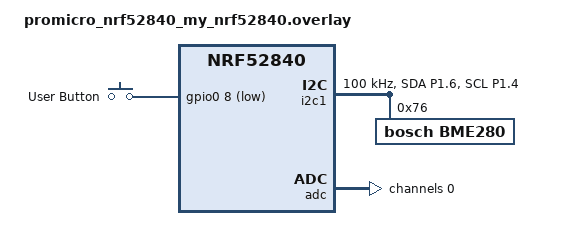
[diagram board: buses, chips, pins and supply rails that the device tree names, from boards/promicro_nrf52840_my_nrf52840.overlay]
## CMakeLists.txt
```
#
# Copyright (c) 2020 Nordic Semiconductor ASA
#
# SPDX-License-Identifier: LicenseRef-Nordic-5-Clause
#

cmake_minimum_required(VERSION 3.20.0)

# Copy uf2/uf2.conf to the project root to enable the bootloader/UF2 build.
# A pristine build is required after adding or removing the root uf2.conf.
if(EXISTS "${CMAKE_CURRENT_SOURCE_DIR}/uf2.conf")
  list(APPEND EXTRA_CONF_FILE
    "${CMAKE_CURRENT_SOURCE_DIR}/uf2.conf"
  )
endif()

find_package(Zephyr REQUIRED HINTS $ENV{ZEPHYR_BASE})

project(zigbee)

# NORDIC SDK APP START
target_sources(app PRIVATE
  src/main.c
  src/zephyr_drivers.c
  src/zb_zcl_struct.c
  #sdk/zigbee_app_utils.c
)

target_include_directories(app PRIVATE include)
```

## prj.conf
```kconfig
#
# Copyright (c) 2020 Nordic Semiconductor ASA
#
# SPDX-License-Identifier: LicenseRef-Nordic-5-Clause
#

#CONFIG_NCS_SAMPLES_DEFAULTS=y

#for E73-2G4M08S1C
# CONFIG_CLOCK_CONTROL_NRF_K32SRC_XTAL=n
# CONFIG_CLOCK_CONTROL_NRF_K32SRC_RC=y
# CONFIG_CLOCK_CONTROL_NRF_K32SRC_500PPM=y

# #production
# CONFIG_SERIAL=n
# CONFIG_LOG=n
# CONFIG_CONSOLE=n
# CONFIG_RTT_CONSOLE=n
# #CONFIG_LOG_DEFAULT_LEVEL=3
# CONFIG_USE_SEGGER_RTT=n
# CONFIG_LOG_BACKEND_RTT=n
# CONFIG_ASSERT=n
#debug
CONFIG_SERIAL=y
CONFIG_LOG=y
CONFIG_CONSOLE=y
CONFIG_RTT_CONSOLE=y
CONFIG_LOG_DEFAULT_LEVEL=3
CONFIG_USE_SEGGER_RTT=y
CONFIG_LOG_BACKEND_RTT=y
CONFIG_ASSERT=y

CONFIG_LOG_BACKEND_UART=n
CONFIG_UART_CONSOLE=n

CONFIG_HEAP_MEM_POOL_SIZE=2048

#zigbee
CONFIG_ZIGBEE_ADD_ON=y
CONFIG_ZIGBEE_PRO_CORE_BEHAVIOR_R22=y
#CONFIG_ZIGBEE_PRO_CORE_BEHAVIOR_R23=y
CONFIG_ZIGBEE_APP_UTILS=y
#CONFIG_ZIGBEE_FACTORY_RESET=y
CONFIG_ZIGBEE_ROLE_END_DEVICE=y
CONFIG_ZIGBEE_CHANNEL_SELECTION_MODE_MULTI=y
#CONFIG_ZIGBEE_CHANNEL_SELECTION_MODE_SINGLE=y
#CONFIG_ZIGBEE_CHANNEL=15
CONFIG_ZIGBEE_DEV_REJOIN_TIMEOUT_MS=300000

#for void zigbee_debug_suspend_zboss_thread(void);
CONFIG_ZIGBEE_DEBUG_FUNCTIONS=y

# This example requires more workqueue stack
CONFIG_SYSTEM_WORKQUEUE_STACK_SIZE=2048

# Enable API for powering down unused RAM parts
CONFIG_RAM_POWER_DOWN_LIBRARY=y

# Networking
CONFIG_NET_IPV6=n
CONFIG_NET_IP_ADDR_CHECK=n
CONFIG_NET_UDP=n


CONFIG_PM=y
CONFIG_PM_DEVICE=y
CONFIG_DK_LIBRARY=y
CONFIG_NRFX_SAADC=y
CONFIG_I2C=y                      
CONFIG_I2C_INIT_PRIORITY=60
CONFIG_ADC=y
CONFIG_ADC_NRFX_SAADC=y
CONFIG_ASSERT=n
CONFIG_LED=y
CONFIG_LED_GPIO=y

CONFIG_SENSOR=y

# Enable nRF ECB driver
CONFIG_CRYPTO=y
CONFIG_CRYPTO_NRF_ECB=y
CONFIG_CRYPTO_INIT_PRIORITY=80
```

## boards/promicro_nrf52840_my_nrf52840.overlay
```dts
#include <nrf52840_partitions.dtsi>
/ {
    aliases {
        sw0 = &user_button;
    };

    buttons {
        compatible = "gpio-keys";

        user_button: button_0 {
            gpios = <&gpio0 8 (GPIO_PULL_UP | GPIO_ACTIVE_LOW)>;
            label = "User Button";
            zephyr,code = <INPUT_KEY_0>;
        };
    };
};

&i2c1 {
    compatible = "nordic,nrf-twim";
    status = "okay";
    clock-frequency = <I2C_BITRATE_STANDARD>;
    pinctrl-0 = <&i2c1_default>;
    pinctrl-1 = <&i2c1_sleep>;
    pinctrl-names = "default", "sleep";

    bme280@76 {
        compatible = "bosch,bme280";
        reg = <0x76>;
    };
};

&pinctrl {
    i2c1_default: i2c1_default {
        group1 {
            psels = <NRF_PSEL(TWIM_SDA, 1, 6)>,
                    <NRF_PSEL(TWIM_SCL, 1, 4)>;
            bias-disable;
        };
    };

    i2c1_sleep: i2c1_sleep {
        group1 {
            psels = <NRF_PSEL(TWIM_SDA, 1, 6)>,
                    <NRF_PSEL(TWIM_SCL, 1, 4)>;
            bias-disable;
            low-power-enable;
        };
    };
};

&adc {
    status = "okay";
    #address-cells = <1>;
    #size-cells = <0>;

    vdd_channel: channel@0 {
        reg = <0>;
        zephyr,gain = "ADC_GAIN_1_6";
        zephyr,reference = "ADC_REF_INTERNAL";
        zephyr,acquisition-time = <ADC_ACQ_TIME_DEFAULT>;
        zephyr,input-positive = <NRF_SAADC_VDD>;
    };
};
```

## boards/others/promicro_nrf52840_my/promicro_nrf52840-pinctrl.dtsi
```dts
/*
 * Copyright (c) 2024 MASSDRIVER EI (massdriver.space)
 * SPDX-License-Identifier: Apache-2.0
 */

&pinctrl {
	uart0_default: uart0_default {
		group1 {
			psels = <NRF_PSEL(UART_TX, 0, 9)>,
				<NRF_PSEL(UART_RX, 0, 10)>;
		};
	};

	uart0_sleep: uart0_sleep {
		group1 {
			psels = <NRF_PSEL(UART_TX, 0, 9)>,
				<NRF_PSEL(UART_RX, 0, 10)>;
			low-power-enable;
		};
	};

	i2c0_default: i2c0_default {
		group1 {
			psels = <NRF_PSEL(TWIM_SDA, 1, 0)>,
				<NRF_PSEL(TWIM_SCL, 0, 11)>;
		};
	};

	i2c0_sleep: i2c0_sleep {
		group1 {
			psels = <NRF_PSEL(TWIM_SDA, 1, 0)>,
				<NRF_PSEL(TWIM_SCL, 0, 11)>;
			low-power-enable;
		};
	};

	i2c1_default: i2c1_default {
		group1 {
			psels = <NRF_PSEL(TWIM_SDA, 1, 6)>,
				<NRF_PSEL(TWIM_SCL, 1, 4)>;
		};
	};

	i2c1_sleep: i2c1_sleep {
		group1 {
			psels = <NRF_PSEL(TWIM_SDA, 1, 6)>,
				<NRF_PSEL(TWIM_SCL, 1, 4)>;
			low-power-enable;
		};
	};

	spi2_default: spi2_default {
		group1 {
			psels = <NRF_PSEL(SPIM_SCK, 1, 1)>,
				<NRF_PSEL(SPIM_MOSI, 1, 2)>,
				<NRF_PSEL(SPIM_MISO, 1, 7)>;
		};
	};

	spi2_sleep: spi2_sleep {
		group1 {
			psels = <NRF_PSEL(SPIM_SCK, 1, 1)>,
				<NRF_PSEL(SPIM_MOSI, 1, 2)>,
				<NRF_PSEL(SPIM_MISO, 1, 7)>;
			low-power-enable;
		};
	};

	pwm0_default: pwm0_default {
		group1 {
			psels = <NRF_PSEL(PWM_OUT0, 0, 15)>;
		};
	};

	pwm0_sleep: pwm0_sleep {
		group1 {
			psels = <NRF_PSEL(PWM_OUT0, 0, 15)>;
			low-power-enable;
		};
	};
};
```

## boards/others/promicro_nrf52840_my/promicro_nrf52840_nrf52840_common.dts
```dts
/*
 * Copyright (c) 2024 MASSDRIVER EI (massdriver.space)
 * Copyright (c) 2018-2023 Nordic Semiconductor ASA
 * Copyright (c) 2017 Linaro Limited
 *
 * SPDX-License-Identifier: Apache-2.0
 */

/dts-v1/;
#include <nordic/nrf52840_qiaa.dtsi>
#include "promicro_nrf52840-pinctrl.dtsi"
#include <zephyr/dt-bindings/input/input-event-codes.h>

/ {
	model = "Pro Micro nRF52840";
	compatible = "others,promicro-nrf52840";

	chosen {
		zephyr,sram = &sram0;
		zephyr,flash = &flash0;
		zephyr,ieee802154 = &ieee802154;
	};

	leds: leds {
		compatible = "gpio-leds";
		led0: led_0 {
			gpios = <&gpio0 15 GPIO_ACTIVE_HIGH>;
			label = "Red LED";
		};
	};

	pwmleds {
		compatible = "pwm-leds";
		red_pwm_led: led_pwm_0 {
			pwms = <&pwm0 0 PWM_MSEC(20) PWM_POLARITY_INVERTED>;
			label = "Red PWM LED";
		};
	};

	aliases {
		led0 = &led0;
		pwm-led0 = &red_pwm_led;
		red-pwm-led = &red_pwm_led;
		mcuboot-led0 = &led0;
		spi = &spi2;
		watchdog0 = &wdt0;
	};
};

&adc {
	status = "okay";
};

&gpiote {
	status = "okay";
};

&uicr {
	nfct-pins-as-gpios;
	gpio-as-nreset;
};

&gpio0 {
	status = "okay";
};

&gpio1 {
	status = "okay";
};

&uart0 {
	compatible = "nordic,nrf-uarte";
	status = "okay";
	current-speed = <115200>;
	pinctrl-0 = <&uart0_default>;
	pinctrl-1 = <&uart0_sleep>;
	pinctrl-names = "default", "sleep";
};

&i2c0 {
	compatible = "nordic,nrf-twi";
	status = "disabled";
	pinctrl-0 = <&i2c0_default>;
	pinctrl-1 = <&i2c0_sleep>;
	pinctrl-names = "default", "sleep";
};

&i2c1 {
	compatible = "nordic,nrf-twi";
	status = "okay";
	pinctrl-0 = <&i2c1_default>;
	pinctrl-1 = <&i2c1_sleep>;
	pinctrl-names = "default", "sleep";
};

&pwm0 {
	status = "okay";
	pinctrl-0 = <&pwm0_default>;
	pinctrl-1 = <&pwm0_sleep>;
	pinctrl-names = "default", "sleep";
};


&spi2 {
	compatible = "nordic,nrf-spi";
	status = "okay";
	pinctrl-0 = <&spi2_default>;
	pinctrl-1 = <&spi2_sleep>;
	pinctrl-names = "default", "sleep";
};

&ieee802154 {
	status = "okay";
};

zephyr_udc0: &usbd {
	status = "okay";
};
#include <../boards/common/usb/cdc_acm_serial.dtsi>
```

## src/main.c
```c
#include <zephyr/kernel.h>
#include <zephyr/device.h>
#include <zephyr/logging/log.h>
#include <ram_pwrdn.h>
#include <dk_buttons_and_leds.h>
#include <zboss_api.h>
#include <zboss_api_addons.h>
#include <zb_zcl_reporting.h>
#include <zephyr/sys/reboot.h>
#include <zigbee/zigbee_app_utils.h>
// #include "zigbee_app_utils.h"
#include <zigbee/zigbee_error_handler.h>
#include <zb_nrf_platform.h>

#include "zephyr_drivers.h"
#include "zb_zcl_struct.h"
#include <zb_macll.h>

void zboss_signal_handler(zb_bufid_t bufid);
static int configure_gpio(void);
static void button_handler(uint32_t button_state, uint32_t has_changed);
static void read_data_cb(struct k_timer *timer);
static void read_data_handler(struct k_work *work);
static void send_attribute_report(zb_bufid_t bufid, zb_uint16_t cmd_id);
static void enter_deep_sleep_work_handler(struct k_work *work);
static void poll_control_checkin_cb(zb_uint8_t param);
static void reboot_work_handler(struct k_work *work);
static void start_zigbee_stack(void);
static void zboss_recovery_join_cb(zb_uint8_t param);
static struct k_work_delayable zboss_recovery_work;
static struct k_work_delayable reboot_work;

K_WORK_DEFINE(read_data_work, read_data_handler);
K_WORK_DELAYABLE_DEFINE(deep_sleep_work, enter_deep_sleep_work_handler);
struct k_timer read_data_timer;

static bool zigbee_started;
static bool app_runtime_started;

#define ERR_REBOOT 1
#define ERR_STEERING 2
#define ERR_LEFT 3

LOG_MODULE_REGISTER(app, LOG_LEVEL_INF);

static void enter_deep_sleep_work_handler(struct k_work *work)
{
	LOG_INF("Configuration window closed. Setting long poll to 10 minutes.");
	zb_zdo_pim_set_long_poll_interval(600000);
}

static void poll_control_checkin_cb(zb_uint8_t param)
{
	ARG_UNUSED(param);
	LOG_INF("Poll Control manual check-in");
	zb_zcl_poll_control_start_check_in(0);
	zb_zcl_poll_control_stop();
}

static void start_normal_app_runtime(const char *reason)
{
	if (app_runtime_started)
	{
		// LOG_INF("app runtime started, reason=%s", reason);
		return;
	}
	zb_zdo_pim_set_long_poll_interval(300);
	app_runtime_started = true;
	LOG_INF("Start app runtime, reason=%s joined=%d", reason, ZB_JOINED());
	LED_BLINK_STOP();
	set_led_off(&led);
	k_timer_start(&read_data_timer, READ_DATA_INITIAL_DELAY, READ_DATA_TIMER_PERIOD);
	k_work_reschedule(&deep_sleep_work, K_SECONDS(30));
}

static void stop_normal_app_runtime(int reason)
{
	LOG_INF("Stop app runtime, reason=%d joined=%d", reason, ZB_JOINED());
	app_runtime_started = false;
	k_timer_stop(&read_data_timer);
	k_work_cancel_delayable(&deep_sleep_work);
	LED_BLINK(K_NO_WAIT, K_NO_WAIT);
}

static void reboot_work_handler(struct k_work *work)
{
	ARG_UNUSED(work);
	LOG_WRN("rebooting...");
	k_msleep(100);
	sys_reboot(SYS_REBOOT_WARM);
}

static void zboss_recovery_join_cb(zb_uint8_t param)
{
	ZVUNUSED(param);

	LOG_WRN("ZBOSS recovery: start network steering");

	if (!bdb_start_top_level_commissioning(ZB_BDB_NETWORK_STEERING))
	{
		LOG_WRN("Recovery network steering rejected");
		k_work_reschedule(&zboss_recovery_work, K_SECONDS(60));
	}
}

static void zboss_recovery_work_handler(struct k_work *work)
{
	ARG_UNUSED(work);

	LOG_WRN("ZBOSS recovery timer fired");

	zb_ret_t ret = ZB_SCHEDULE_APP_CALLBACK(zboss_recovery_join_cb, 0);

	if (ret != RET_OK)
	{
		LOG_WRN("Failed to schedule ZBOSS recovery callback: %d", ret);
		k_work_reschedule(&zboss_recovery_work, K_SECONDS(60));
	}
}

void zboss_signal_handler(zb_bufid_t bufid)
{
	zb_zdo_app_signal_hdr_t *sig_hndler = NULL;
	zb_zdo_app_signal_type_t sig = zb_get_app_signal(bufid, &sig_hndler);
	zb_ret_t status = ZB_GET_APP_SIGNAL_STATUS(bufid);

	bool call_default = true;

	switch (sig)
	{

	case ZB_BDB_SIGNAL_DEVICE_REBOOT:
	{
		LOG_WRN("now ZB_BDB_SIGNAL_DEVICE_REBOOT: status=%d joined=%d",
				status, ZB_JOINED());

		if (status == RET_OK && ZB_JOINED())
		{
			start_normal_app_runtime("device_reboot_joined");
		}
		else
		{
			LOG_WRN("DEVICE_REBOOT failed/not joined, enter offline state");
			zb_macll_trans_set_rx_on_off(zb_get_rx_on_when_idle());
			k_work_reschedule(&zboss_recovery_work, K_SECONDS(60));

			stop_normal_app_runtime(ERR_REBOOT);
		}
		call_default = false;
		break;
	}

	case ZB_BDB_SIGNAL_STEERING:
	{
		LOG_WRN("ZB_BDB_SIGNAL_STEERING: status=%d joined=%d",
				status, ZB_JOINED());

		if (status == RET_OK && ZB_JOINED())
		{
			LOG_INF("Recovery successful");
			start_normal_app_runtime("steering");
		}
		else
		{
			LOG_WRN("Recovery failed, sleep 60 seconds");

			zb_macll_trans_set_rx_on_off(zb_get_rx_on_when_idle());

			stop_normal_app_runtime(ERR_STEERING);
			k_work_reschedule(&zboss_recovery_work, K_SECONDS(60));
		}

		call_default = false;
		break;
	}

	case ZB_ZDO_SIGNAL_LEAVE:
		if (status == RET_OK)
		{
			LOG_INF("left OK");
			k_work_reschedule(&reboot_work, K_MSEC(50));
		}
		call_default = false;
		break;
	}

	if (call_default)
	{
		// LOG_WRN("default handler");
		ZB_ERROR_CHECK(zigbee_default_signal_handler(bufid));
	}

	if (bufid)
	{
		zb_buf_free(bufid);
	}
}

static int configure_gpio(void)
{
	int ret;
	k_timer_init(&led_timer, led_timer_handler, NULL);
	LED_BLINK(K_NO_WAIT, K_NO_WAIT);
	if (!gpio_is_ready_dt(&led))
	{
		LOG_ERR("GPIO device for led not ready");
		return -ENODEV;
	}

	if (!gpio_is_ready_dt(&button))
	{
		LOG_ERR("GPIO device for button not ready");
		return -ENODEV;
	}

	ret = gpio_pin_configure_dt(&button, GPIO_INPUT);
	if (ret < 0)
	{
		LOG_ERR("Failed to configure button pin: %d", ret);
		return ret;
	}

	dk_buttons_init(button_handler);
	return 0;
}

static void start_zigbee_stack(void)
{
	if (zigbee_started)
	{
		LOG_INF("Zigbee already started");
		return;
	}
	zigbee_enable();
	zigbee_started = true;
}

void button_handler(uint32_t button_state, uint32_t has_changed)
{
	LOG_INF("button_handler %d", button_state);
	zb_ret_t ret;
	check_factory_reset_button(button_state, has_changed);
	if (MY_BUTTON_MASK & has_changed & ~button_state)
	{
		if (!was_factory_reset_done())
		{
			LOG_INF("button released");
			if (!zigbee_started)
			{
				start_zigbee_stack();
			}
			else
			{
				ret = ZB_SCHEDULE_APP_CALLBACK(poll_control_checkin_cb, 0);
				LOG_INF("poll control checkin ret=%d", ret);
			}
		}
	}
}

static void read_data_cb(struct k_timer *timer)
{
	ARG_UNUSED(timer);
	k_work_submit(&read_data_work);
}

static void send_attribute_report(zb_bufid_t bufid, zb_uint16_t cmd_id)
{
	ARG_UNUSED(cmd_id);
	LOG_INF("force zboss scheduler to wake and send attribute report");
	zb_buf_free(bufid);
}

static void read_data_handler(struct k_work *work)
{
	ARG_UNUSED(work);
	int16_t temp = 2500;
	int16_t hum = 10000;
	zb_int16_t press = 0;

	read_bme280(&temp, &press, &hum);

	zb_zcl_set_attr_val(
		ENDPOINT_NUM,
		ZB_ZCL_CLUSTER_ID_TEMP_MEASUREMENT,
		ZB_ZCL_CLUSTER_SERVER_ROLE,
		ZB_ZCL_ATTR_TEMP_MEASUREMENT_VALUE_ID,
		(zb_uint8_t *)&temp,
		ZB_FALSE);

	zb_zcl_set_attr_val(
		ENDPOINT_NUM,
		ZB_ZCL_CLUSTER_ID_REL_HUMIDITY_MEASUREMENT,
		ZB_ZCL_CLUSTER_SERVER_ROLE,
		ZB_ZCL_ATTR_REL_HUMIDITY_MEASUREMENT_VALUE_ID,
		(zb_uint8_t *)&hum,
		ZB_FALSE);

	zb_zcl_set_attr_val(
		ENDPOINT_NUM,
		ZB_ZCL_CLUSTER_ID_PRESSURE_MEASUREMENT,
		ZB_ZCL_CLUSTER_SERVER_ROLE,
		ZB_ZCL_ATTR_PRESSURE_MEASUREMENT_VALUE_ID,
		(zb_uint8_t *)&press,
		ZB_FALSE);

	uint16_t volt_cr = 0;
	zb_uint8_t battery_level = ZB_ZCL_POWER_CONFIG_BATTERY_REMAINING_UNKNOWN;
	if (read_vdd_mv(&volt_cr))
	{
		LOG_INF("error read voltage.");
	}
	else
	{
		battery_level = cr2032_CalculateLevel((uint16_t)(volt_cr));
	}
	volt_cr = volt_cr / 100;
	zb_zcl_set_attr_val(
		ENDPOINT_NUM,
		ZB_ZCL_CLUSTER_ID_POWER_CONFIG,
		ZB_ZCL_CLUSTER_SERVER_ROLE,
		ZB_ZCL_ATTR_POWER_CONFIG_BATTERY_PERCENTAGE_REMAINING_ID,
		&battery_level,
		ZB_FALSE);

	zb_zcl_set_attr_val(
		ENDPOINT_NUM,
		ZB_ZCL_CLUSTER_ID_POWER_CONFIG,
		ZB_ZCL_CLUSTER_SERVER_ROLE,
		ZB_ZCL_ATTR_POWER_CONFIG_BATTERY_VOLTAGE_ID,
		(zb_uint8_t *)&volt_cr,
		ZB_FALSE);

	LOG_INF("Data t = %dC h = %d p = %dhPa V = %dV", temp, hum, press, volt_cr);
	zb_buf_get_out_delayed_ext(send_attribute_report, 0, 0);
}

int main(void)
{
	LOG_INF("Starting...");
	k_work_init_delayable(&reboot_work, reboot_work_handler);
	k_work_init_delayable(&zboss_recovery_work, zboss_recovery_work_handler);

	int err;
	if (!configure_gpio())
	{
		LOG_INF("Init GPIO");
	}
	else
	{
		LOG_INF("ERROR init GPIO");
	}

	if (check_bme280_device() == NULL)
	{
		LOG_INF("ERROR init bme280");
	}
	err = init_vdd();
	if (err)
	{
		LOG_INF("ERROR init GPIO %d", err);
	}

	register_factory_reset_button(MY_BUTTON_MASK);
	zigbee_erase_persistent_storage(ERASE_PERSISTENT_CONFIG);
	zb_set_ed_timeout(ED_AGING_TIMEOUT_64MIN);
	zb_set_keepalive_timeout(ZB_MILLISECONDS_TO_BEACON_INTERVAL(3600 * 1000)); //!!!!!!!!

	// configure for lowest power
	zigbee_configure_sleepy_behavior(true);
	power_down_unused_ram();

	// initialize application clusters
	app_clusters_attr_init();

	// initialize read data  timer
	k_timer_init(&read_data_timer, read_data_cb, NULL);

	// zigbee_enable();
	zigbee_started = false;

	LOG_INF("Device started");
	while (1)
	{
		k_sleep(K_FOREVER);
	}
}
```

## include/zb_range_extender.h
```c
#ifndef __ZB_RANGE_EXTENDER_H__
#define __ZB_RANGE_EXTENDER_H__

#define ZB_ENV_SENSOR_DEVICE_ID 0x000C

#define ZB_DEVICE_VER_ENV_SENSOR 0

// number of IN (server) clusters
#define ZB_NORDIC_DIY_IN_CLUSTER_NUM 7

// number of OUT (client) clusters
#define ZB_NORDIC_DIY_OUT_CLUSTER_NUM 1

// total number of (IN+OUT) clusters
#define ZB_NORDIC_DIY_CLUSTER_NUM \
	(ZB_NORDIC_DIY_IN_CLUSTER_NUM + ZB_NORDIC_DIY_OUT_CLUSTER_NUM)

// Number of attributes for reporting
#define ZB_NORDIC_DIY_REPORT_ATTR_COUNT 5

#define ZB_DECLARE_NORDIC_DIY_CLUSTER_LIST(                                       \
	cluster_list_name,                                                            \
	basic_server_attr_list,                                                       \
	identify_server_attr_list,                                                    \
	power_config_server_attr_list,                                                \
	temp_measurement_attr_list,                                                   \
	humidity_measurement_attr_list,                                               \
	pressure_measurement_attr_list,                                               \
	identify_client_attr_list,                                                    \
	poll_control_attr_list)                                                       \
	zb_zcl_cluster_desc_t cluster_list_name[] =                                   \
		{                                                                         \
			ZB_ZCL_CLUSTER_DESC(                                                  \
				ZB_ZCL_CLUSTER_ID_IDENTIFY,                                       \
				ZB_ZCL_ARRAY_SIZE(identify_server_attr_list, zb_zcl_attr_t),      \
				(identify_server_attr_list),                                      \
				ZB_ZCL_CLUSTER_SERVER_ROLE,                                       \
				ZB_ZCL_MANUF_CODE_INVALID),                                       \
			ZB_ZCL_CLUSTER_DESC(                                                  \
				ZB_ZCL_CLUSTER_ID_BASIC,                                          \
				ZB_ZCL_ARRAY_SIZE(basic_server_attr_list, zb_zcl_attr_t),         \
				(basic_server_attr_list),                                         \
				ZB_ZCL_CLUSTER_SERVER_ROLE,                                       \
				ZB_ZCL_MANUF_CODE_INVALID),                                       \
			ZB_ZCL_CLUSTER_DESC(                                                  \
				ZB_ZCL_CLUSTER_ID_TEMP_MEASUREMENT,                               \
				ZB_ZCL_ARRAY_SIZE(temp_measurement_attr_list, zb_zcl_attr_t),     \
				(temp_measurement_attr_list),                                     \
				ZB_ZCL_CLUSTER_SERVER_ROLE,                                       \
				ZB_ZCL_MANUF_CODE_INVALID),                                       \
			ZB_ZCL_CLUSTER_DESC(                                                  \
				ZB_ZCL_CLUSTER_ID_REL_HUMIDITY_MEASUREMENT,                       \
				ZB_ZCL_ARRAY_SIZE(humidity_measurement_attr_list, zb_zcl_attr_t), \
				(humidity_measurement_attr_list),                                 \
				ZB_ZCL_CLUSTER_SERVER_ROLE,                                       \
				ZB_ZCL_MANUF_CODE_INVALID),                                       \
			ZB_ZCL_CLUSTER_DESC(                                                  \
				ZB_ZCL_CLUSTER_ID_PRESSURE_MEASUREMENT,                           \
				ZB_ZCL_ARRAY_SIZE(pressure_measurement_attr_list, zb_zcl_attr_t), \
				(pressure_measurement_attr_list),                                 \
				ZB_ZCL_CLUSTER_SERVER_ROLE,                                       \
				ZB_ZCL_MANUF_CODE_INVALID),                                       \
			ZB_ZCL_CLUSTER_DESC(                                                  \
				ZB_ZCL_CLUSTER_ID_POWER_CONFIG,                                   \
				ZB_ZCL_ARRAY_SIZE(power_config_server_attr_list, zb_zcl_attr_t),  \
				(power_config_server_attr_list),                                  \
				ZB_ZCL_CLUSTER_SERVER_ROLE,                                       \
				ZB_ZCL_MANUF_CODE_INVALID),                                       \
			ZB_ZCL_CLUSTER_DESC(                                                  \
				ZB_ZCL_CLUSTER_ID_POLL_CONTROL,                                   \
				ZB_ZCL_ARRAY_SIZE(poll_control_attr_list, zb_zcl_attr_t),         \
				(poll_control_attr_list),                                         \
				ZB_ZCL_CLUSTER_SERVER_ROLE,                                       \
				ZB_ZCL_MANUF_CODE_INVALID),                                       \
			ZB_ZCL_CLUSTER_DESC(                                                  \
				ZB_ZCL_CLUSTER_ID_IDENTIFY,                                       \
				ZB_ZCL_ARRAY_SIZE(identify_client_attr_list, zb_zcl_attr_t),      \
				(identify_client_attr_list),                                      \
				ZB_ZCL_CLUSTER_CLIENT_ROLE,                                       \
				ZB_ZCL_MANUF_CODE_INVALID)}

#define ZB_ZCL_DECLARE_NORDIC_DIY_SIMPLE_DESC(           \
	ep_name, ep_id, in_clust_num, out_clust_num)         \
	ZB_DECLARE_SIMPLE_DESC(in_clust_num, out_clust_num); \
	ZB_AF_SIMPLE_DESC_TYPE(in_clust_num, out_clust_num)  \
	simple_desc_##ep_name =                              \
		{                                                \
			ep_id,                                       \
			ZB_AF_HA_PROFILE_ID,                         \
			ZB_ENV_SENSOR_DEVICE_ID,                     \
			ZB_DEVICE_VER_ENV_SENSOR,                    \
			0,                                           \
			in_clust_num,                                \
			out_clust_num,                               \
			{ZB_ZCL_CLUSTER_ID_BASIC,                    \
			 ZB_ZCL_CLUSTER_ID_IDENTIFY,                 \
			 ZB_ZCL_CLUSTER_ID_POWER_CONFIG,             \
			 ZB_ZCL_CLUSTER_ID_TEMP_MEASUREMENT,         \
			 ZB_ZCL_CLUSTER_ID_REL_HUMIDITY_MEASUREMENT, \
			 ZB_ZCL_CLUSTER_ID_PRESSURE_MEASUREMENT,     \
			 ZB_ZCL_CLUSTER_ID_POLL_CONTROL,             \
			 ZB_ZCL_CLUSTER_ID_IDENTIFY}}

#define ZB_DECLARE_NORDIC_DIY_EP(ep_name, ep_id, cluster_list)                                          \
	ZB_ZCL_DECLARE_NORDIC_DIY_SIMPLE_DESC(ep_name, ep_id,                                               \
										  ZB_NORDIC_DIY_IN_CLUSTER_NUM, ZB_NORDIC_DIY_OUT_CLUSTER_NUM); \
	ZBOSS_DEVICE_DECLARE_REPORTING_CTX(reporting_info##ep_name,                                         \
									   ZB_NORDIC_DIY_REPORT_ATTR_COUNT);                                \
	ZB_AF_DECLARE_ENDPOINT_DESC(ep_name, ep_id, ZB_AF_HA_PROFILE_ID, 0, NULL,                           \
								ZB_ZCL_ARRAY_SIZE(cluster_list, zb_zcl_cluster_desc_t), cluster_list,   \
								(zb_af_simple_desc_1_1_t *)&simple_desc_##ep_name,                      \
								ZB_NORDIC_DIY_REPORT_ATTR_COUNT, reporting_info##ep_name,               \
								0, NULL) // No CVC ctx

#endif // __ZB_RANGE_EXTENDER_H__
```

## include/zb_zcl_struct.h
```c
#ifndef ZB_ZCL_STRUCT_H
#define ZB_ZCL_STRUCT_H

#include <zboss_api.h>
#include <zboss_api_addons.h>

#define NORDIC_DIY_INIT_BASIC_APP_VERSION 01
#define NORDIC_DIY_INIT_BASIC_STACK_VERSION 10
#define NORDIC_DIY_INIT_BASIC_HW_VERSION 11
#define NORDIC_DIY_INIT_BASIC_SW_VERSION "build-3"
#define NORDIC_DIY_INIT_BASIC_MANUF_NAME "Nordic"
#define NORDIC_DIY_INIT_BASIC_MODEL_ID "nordic DIY PM"
#define NORDIC_DIY_INIT_BASIC_DATE_CODE "041426"
#define NORDIC_DIY_INIT_BASIC_POWER_SOURCE ZB_ZCL_BASIC_POWER_SOURCE_BATTERY
#define NORDIC_DIY_INIT_BASIC_LOCATION_DESC ""
#define NORDIC_DIY_INIT_BASIC_PH_ENV ZB_ZCL_BASIC_ENV_UNSPECIFIED

#define ATTR_TEMP_MIN (-4000)
#define ATTR_TEMP_MAX (8500)
#define ATTR_TEMP_TOLERANCE (100)

#define ATTR_HUM_MIN (0)
#define ATTR_HUM_MAX (10000)

#define ATTR_PRESSURE_MIN (3000)
#define ATTR_PRESSURE_MAX (11000)
#define ATTR_PRESSURE_TOLERANCE (1)

#define ENDPOINT_NUM 1
#define ERASE_PERSISTENT_CONFIG ZB_FALSE

#define READ_DATA_INITIAL_DELAY K_SECONDS(30)
#define READ_DATA_TIMER_PERIOD K_SECONDS(60)
#define LONG_POLL_INTERVAL 600000


typedef struct zb_zcl_power_attrs zb_zcl_power_attrs_t;

struct zb_zcl_power_attrs
{
    zb_uint8_t voltage;
    zb_uint8_t percent_remaining;
};

typedef struct
{
    zb_int16_t measure_value;
    zb_int16_t min_measure_value;
    zb_int16_t max_measure_value;
} zb_zcl_humidity_measurement_attrs_t;

typedef struct
{
    zb_int16_t measure_value;
    zb_int16_t min_measure_value;
    zb_int16_t max_measure_value;
    zb_int16_t tolerance_value;
} zb_zcl_pressure_measurement_attrs_t;

typedef struct
{
    zb_uint32_t checkin_interval;
    zb_uint32_t long_poll_interval;
    zb_uint16_t short_poll_interval;
    zb_uint16_t fast_poll_timeout;
    zb_uint32_t checkin_interval_min;
    zb_uint32_t long_poll_interval_min;
    zb_uint16_t fast_poll_timeout_max;
} zb_zcl_poll_control_attrs_t;

struct zb_device_ctx
{
    zb_zcl_basic_attrs_ext_t basic_attr;
    zb_zcl_identify_attrs_t identify_attr;
    zb_zcl_temp_measurement_attrs_t temp_measure_attrs;
    zb_zcl_humidity_measurement_attrs_t humidity_measure_attrs;
    zb_zcl_pressure_measurement_attrs_t pressure_measure_attrs;
    zb_zcl_power_attrs_t power_attr;
    zb_zcl_poll_control_attrs_t poll_control_attrs;
};



extern struct zb_device_ctx dev_ctx;

extern zb_af_device_ctx_t NORDIC_DIY_ctx;
extern zb_af_endpoint_desc_t NORDIC_DIY_ep;

void app_clusters_attr_init(void);   

#endif /* ZB_ZCL_STRUCT_H */
```

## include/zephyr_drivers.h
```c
#ifndef ZEPHYR_DRIVERS_H
#define ZEPHYR_DRIVERS_H

#include <zephyr/kernel.h>
#include <zephyr/device.h>
#include <zephyr/drivers/gpio.h>
#include <zephyr/drivers/sensor.h>
#include <zephyr/drivers/sensor_data_types.h>
#include <zephyr/drivers/adc.h>

#define SW0_NODE DT_ALIAS(sw0)
#define MY_BUTTON_MASK BIT(0)
#define LED0_NODE DT_ALIAS(led0)
#define MY_LED_MASK BIT(0)

extern const struct gpio_dt_spec button;
extern const struct gpio_dt_spec led;
extern struct k_timer led_timer;

#define LED_BLINK(start_delay, period) \
    k_timer_start(&led_timer, start_delay, period)

#define LED_BLINK_STOP() \
    k_timer_stop(&led_timer)

void set_led_on(const struct gpio_dt_spec *led);
void set_led_off(const struct gpio_dt_spec *led);
void led_timer_handler(struct k_timer *timer);
const struct device *check_bme280_device(void);
int16_t read_bme280(int16_t *temperature, int16_t *pressure, int16_t *humidity);
int init_vdd(void);
int read_vdd_mv(int16_t *mv);
uint8_t cr2032_CalculateLevel(uint16_t voltage);

#endif /* ZEPHYR_DRIVERS_H */
```

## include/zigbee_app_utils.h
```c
/*
 * Copyright (c) 2020 Nordic Semiconductor ASA
 *
 * SPDX-License-Identifier: LicenseRef-Nordic-5-Clause
 */

#ifndef ZIGBEE_APP_UTILS_H__
#define ZIGBEE_APP_UTILS_H__

#include <stdint.h>
#include <stdbool.h>

#include <zboss_api.h>

#define CONFIG_ZIGBEE_FACTORY_RESET

/** @file zigbee_app_utils.h
 *
 * @defgroup zigbee_app_utils Zigbee application utilities library.
 * @{
 * @brief  Library with helper functions and routines.
 *
 * @details Provides Zigbee default handler, helper functions for parsing
 * and converting Zigbee data, indicating status of the device at a network
 * using onboard LEDs.
 */

#ifdef __cplusplus
extern "C" {
#endif

/**@brief Function for setting the Erase persistent storage,
 *        depending on the erase pin.
 *
 * If the erase pin (1.39 by default, defined in zigbee_app_utils.c)
 * is shortened to the ground, then the persistent storage is erased.
 * Otherwise, whether the storage is erased is decided upon the input
 * parameter 'erase'. This behaviour is only valid if PCA10056 is used.
 *
 * @param[in] erase Whether to erase the persistent storage in case
 *                  the erase pin is not shortened to the ground.
 */
void zigbee_erase_persistent_storages(zb_bool_t erase);

/**@brief Function for converting an input buffer to a hex string.
 *
 * @param[out] out       Pointer to the output buffer.
 * @param[in]  out_size  Size of the output buffer.
 * @param[in]  in        Pointer to the input buffer.
 * @param[in]  in_size   Size of the input buffer.
 * @param[in]  reverse   If true, data output happens in the reverse order.
 *
 * @return     snprintf-compatible value. Less than zero means encoding error.
 *             Non-negative value is the number of characters that
 *             would have been written if the supplied buffer had been
 *             large enough. Value greater than or equal to buf_len means
 *             that the supplied buffer was too small.
 *
 * @note    Null terminator is written if buf_len is large enough,
 *          but does not count for the return value.
 */
int to_hex_str(char *out, uint16_t out_size, const uint8_t *in,
	       uint8_t in_size, bool reverse);

/**@brief Read array of uint8_t from hex string.
 *
 * @param in_str        Pointer to the input hex string.
 * @param in_str_len    Length, in characters, of the input string.
 * @param out_buff      Pointer to the output uint8_t array.
 * @param out_buff_size Size, in bytes, of the output uint8_t array.
 * @param reverse       If true then parse from end to start.
 *
 * @retval true   if the conversion succeed
 * @retval false  if the conversion failed
 */
bool parse_hex_str(char const *in_str, uint8_t in_str_len,
		   uint8_t *out_buff, uint8_t out_buff_size, bool reverse);

/**@brief Parse a hex string to uint8_t.
 *
 * The function verifies if input is valid, i.e., if all input characters
 * are valid hex digits. If an invalid character is found then function fails.
 *
 * @param s        Pointer to input string.
 * @param value    Pointer to output value.
 *
 * @retval true   if the conversion succeed
 * @retval false  if the conversion failed
 */
static inline bool parse_hex_u8(char const *s, uint8_t *value)
{
	return parse_hex_str(s, strlen(s), value, sizeof(*value), true);
}

/**@brief Parse a hex string to uint16_t.
 *
 * The function verifies if input is valid, i.e., if all input characters
 * are valid hex digits. If an invalid character is found then function fails.
 *
 * @param s        Pointer to input string.
 * @param value    Pointer to output value.
 *
 * @retval true   if the conversion succeed
 * @retval false  if the conversion failed
 */
static inline bool parse_hex_u16(char const *s, uint16_t *value)
{
	return parse_hex_str(s, strlen(s), (uint8_t *)value, sizeof(*value), true);
}

/**@brief Function for converting 64-bit address to hex string.
 *
 * @param[out] str_buf      Pointer to output buffer.
 * @param[in]  buf_len      Length of the buffer pointed by str_buf.
 * @param[in]  in           Zigbee IEEE address to be converted to string.
 *
 * @return     snprintf-compatible value. Less than zero means encoding error.
 *             Non-negative value is the number of characters that would
 *             have been written if the supplied buffer had been large enough.
 *             Value greater than or equal to buf_len means that the supplied
 *             buffer was too small.
 *
 * @note    Null terminator is written if buf_len is large enough,
 *          but does not count for the return value.
 */
int ieee_addr_to_str(char *str_buf, uint16_t buf_len,
		     const zb_ieee_addr_t in);

/**@brief Address type.
 *
 * @ref ADDR_SHORT and @ref ADDR_LONG correspond to APS addressing
 * mode constants and must not be changed.
 */
typedef enum {
	ADDR_INVALID    = 0,
	ADDR_ANY        = 1,
	ADDR_SHORT      = 2,    /* ZB_APS_ADDR_MODE_16_ENDP_PRESENT */
	ADDR_LONG       = 3,    /* ZB_APS_ADDR_MODE_64_ENDP_PRESENT */
} addr_type_t;

/**@brief Function for parsing a null-terminated string of hex characters
 *        into 64-bit or 16-bit address.
 *
 * The function will skip 0x suffix from input if present.
 *
 * @param input     Pointer to the input string string representing
 *                  the address in big endian.
 * @param output    Pointer to the resulting zb_addr_u variable.
 * @param addr_type Expected address type.
 *
 * @return Conversion result.
 */
addr_type_t parse_address(const char *input, zb_addr_u *output,
			  addr_type_t addr_type);

/**@brief Function for parsing a null-terminated string of hex characters
 *        into a 64-bit address.
 *
 * The function will skip 0x suffix from input if present.
 *
 * @param input   Pointer to the input string representing the address
 *                in big endian.
 * @param addr    Variable where the address will be placed.
 *
 * @retval true   if the conversion succeed
 * @retval false  if the conversion failed
 */
static inline bool parse_long_address(const char *input, zb_ieee_addr_t addr)
{
	return (parse_address(input, (zb_addr_u *)addr,
			      ADDR_LONG) != ADDR_INVALID);
}

/**@brief Function for parsing a null-terminated string of hex characters
 *        into 16-bit address.
 *
 * The function will skip 0x suffix from input if present.
 *
 * @param input   Pointer to the input string representing
 *                the address in big endian.
 * @param addr    Pointer to the variable where address will be placed.
 *
 * @retval true   if the conversion succeed
 * @retval false  if the conversion failed
 */
static inline bool parse_short_address(const char *input, zb_uint16_t *addr)
{
	return (parse_address(input, (zb_addr_u *)addr,
			      ADDR_SHORT) != ADDR_INVALID);
}

/**@brief Function for passing signals to the default
 *        Zigbee stack event handler.
 *
 * @note This function does not free the Zigbee buffer.
 *
 * @param[in] bufid Reference to the Zigbee stack buffer used to pass signal.
 *
 * @return RET_OK on success or error code on failure.
 */
zb_ret_t zigbee_default_signal_handler(zb_bufid_t bufid);

/**@brief Function for indicating the Zigbee network connection
 *        status on LED.
 *
 * If the device is successfully commissioned, the LED is turned on.
 * If the device is not commissioned or has left the network,
 * the LED is turned off.
 *
 * @note This function does not free the Zigbee buffer.
 *
 * @param[in] bufid   Reference to the Zigbee stack buffer
 *                    used to pass signal.
 * @param[in] led_idx LED index, as defined in the board-specific
 *                    BSP header. The index starts from 0.
 */
void zigbee_led_status_update(zb_bufid_t bufid, uint32_t led_idx);

/**@brief Function for indicating the default signal handler
 *        about user input on the device.
 *
 * If the device is not commissioned, the rejoin procedure is started.
 *
 * @note This function is to be used with End Devices only.
 *
 */
#if defined CONFIG_ZIGBEE_ROLE_END_DEVICE
void user_input_indicate(void);

/**@brief Function for enabling sleepy behavior of End Device. Must be called
 *        before zigbee_enable() is called. Also must be called after ZB_INIT(),
 *        which is called when the system is initializing.
 *
 * @note This function is to be used with End Devices only.
 *
 * @param[in] enable   Boolean value indicating if sleepy behavior
 *                     should be enabled or disabled.
 */
void zigbee_configure_sleepy_behavior(bool enable);
#endif /* CONFIG_ZIGBEE_ROLE_END_DEVICE */

#if defined CONFIG_ZIGBEE_FACTORY_RESET

/**@brief Registers which button and for how long has to be pressed in order to do Factory Reset.
 *
 * @note Must be called once before check_factory_reset_button function can be used.
 *
 * @param[in] button Development Kit button to be used as Factory Reset button.
 */
void register_factory_reset_button(uint32_t button);

/**@brief Checks if Factory Reset button was pressed.
 *        If so, it initiates the procedure of checking if it was pressed for specified time.
 *
 * @note register_factory_reset_button function has to be called before (once)
 *
 * @param[in] button_state state of Development Kit buttons; passed from button handler
 * @param[in] has_changed determines which buttons changed; passed from button handler
 */
void check_factory_reset_button(uint32_t button_state, uint32_t has_changed);

/**@brief Indicates whether Factory Reset was started as a result of a button press or not.
 *
 * @return true if Factory Reset was started; false if Factory Reset was not started
 */
bool was_factory_reset_done(void);

#else /* CONFIG_ZIGBEE_FACTORY_RESET */

static inline void register_factory_reset_button(uint32_t)
{
	/* No action. Functionality is disabled. */
}

static inline void check_factory_reset_button(uint32_t, uint32_t)
{
	/* No action. Functionality is disabled. */
}

static inline bool was_factory_reset_done(void)
{
	return false; /* Functionality is disabled. */
}

#endif /* CONFIG_ZIGBEE_FACTORY_RESET */

#ifdef __cplusplus
}
#endif

/**@} */

#endif /* ZIGBEE_APP_UTILS_H__ */
```

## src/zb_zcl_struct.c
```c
#include "zb_zcl_struct.h"
#include "zb_range_extender.h"

struct zb_device_ctx dev_ctx;

ZB_ZCL_DECLARE_BASIC_ATTRIB_LIST_EXT(
    basic_attr_list,
    &dev_ctx.basic_attr.zcl_version,
    &dev_ctx.basic_attr.app_version,
    &dev_ctx.basic_attr.stack_version,
    &dev_ctx.basic_attr.hw_version,
    dev_ctx.basic_attr.mf_name,
    dev_ctx.basic_attr.model_id,
    dev_ctx.basic_attr.date_code,
    &dev_ctx.basic_attr.power_source,
    dev_ctx.basic_attr.location_id,
    &dev_ctx.basic_attr.ph_env,
    dev_ctx.basic_attr.sw_ver);

ZB_ZCL_DECLARE_IDENTIFY_CLIENT_ATTRIB_LIST(
    identify_client_attr_list);

ZB_ZCL_DECLARE_IDENTIFY_SERVER_ATTRIB_LIST(
    identify_server_attr_list,
    &dev_ctx.identify_attr.identify_time);

#define ZB_ZCL_DECLARE_POWER_CONFIG_VOLTAGE_PERCENT_ATTRIB_LIST(attr_list, voltage, remaining)        \
    ZB_ZCL_START_DECLARE_ATTRIB_LIST_CLUSTER_REVISION(attr_list, ZB_ZCL_POWER_CONFIG)                 \
    ZB_SET_ATTR_DESCR_WITH_ZB_ZCL_ATTR_POWER_CONFIG_BATTERY_VOLTAGE_ID(voltage, ),                    \
        ZB_SET_ATTR_DESCR_WITH_ZB_ZCL_ATTR_POWER_CONFIG_BATTERY_PERCENTAGE_REMAINING_ID(remaining, ), \
        ZB_ZCL_FINISH_DECLARE_ATTRIB_LIST;

ZB_ZCL_DECLARE_POWER_CONFIG_VOLTAGE_PERCENT_ATTRIB_LIST(
    power_config_server_attr_list,
    &dev_ctx.power_attr.voltage,
    &dev_ctx.power_attr.percent_remaining);

ZB_ZCL_DECLARE_POLL_CONTROL_ATTRIB_LIST(
    poll_control_attrib_list,
    &dev_ctx.poll_control_attrs.checkin_interval,
    &dev_ctx.poll_control_attrs.long_poll_interval,
    &dev_ctx.poll_control_attrs.short_poll_interval,
    &dev_ctx.poll_control_attrs.fast_poll_timeout,
    &dev_ctx.poll_control_attrs.checkin_interval_min,
    &dev_ctx.poll_control_attrs.long_poll_interval_min,
    &dev_ctx.poll_control_attrs.fast_poll_timeout_max);

ZB_ZCL_DECLARE_TEMP_MEASUREMENT_ATTRIB_LIST(
    temp_measurement_attr_list,
    &dev_ctx.temp_measure_attrs.measure_value,
    &dev_ctx.temp_measure_attrs.min_measure_value,
    &dev_ctx.temp_measure_attrs.max_measure_value,
    &dev_ctx.temp_measure_attrs.tolerance);

ZB_ZCL_DECLARE_REL_HUMIDITY_MEASUREMENT_ATTRIB_LIST(
    humidity_measurement_attr_list,
    &dev_ctx.humidity_measure_attrs.measure_value,
    &dev_ctx.humidity_measure_attrs.min_measure_value,
    &dev_ctx.humidity_measure_attrs.max_measure_value);

ZB_ZCL_DECLARE_PRESSURE_MEASUREMENT_ATTRIB_LIST(
    pressure_measurement_attr_list,
    &dev_ctx.pressure_measure_attrs.measure_value,
    &dev_ctx.pressure_measure_attrs.min_measure_value,
    &dev_ctx.pressure_measure_attrs.max_measure_value,
    &dev_ctx.pressure_measure_attrs.tolerance_value);

ZB_DECLARE_NORDIC_DIY_CLUSTER_LIST(
    NORDIC_DIY_clusters,
    basic_attr_list,
    identify_server_attr_list,
    power_config_server_attr_list,
    temp_measurement_attr_list,
    humidity_measurement_attr_list,
    pressure_measurement_attr_list,
    identify_client_attr_list,
    poll_control_attrib_list);

ZB_DECLARE_NORDIC_DIY_EP(
    NORDIC_DIY_ep,
    ENDPOINT_NUM,
    NORDIC_DIY_clusters);

ZBOSS_DECLARE_DEVICE_CTX_1_EP(
    NORDIC_DIY_ctx,
    NORDIC_DIY_ep);

void app_clusters_attr_init(void)
{
    ZB_AF_REGISTER_DEVICE_CTX(&NORDIC_DIY_ctx);

    // Basic cluster attributes data.
    dev_ctx.basic_attr.zcl_version = ZB_ZCL_VERSION;
    dev_ctx.basic_attr.power_source = NORDIC_DIY_INIT_BASIC_POWER_SOURCE;
    dev_ctx.basic_attr.stack_version = NORDIC_DIY_INIT_BASIC_STACK_VERSION;
    dev_ctx.basic_attr.hw_version = NORDIC_DIY_INIT_BASIC_HW_VERSION;

    ZB_ZCL_SET_STRING_VAL(dev_ctx.basic_attr.mf_name,
                          NORDIC_DIY_INIT_BASIC_MANUF_NAME,
                          ZB_ZCL_STRING_CONST_SIZE(NORDIC_DIY_INIT_BASIC_MANUF_NAME));

    ZB_ZCL_SET_STRING_VAL(dev_ctx.basic_attr.model_id,
                          NORDIC_DIY_INIT_BASIC_MODEL_ID,
                          ZB_ZCL_STRING_CONST_SIZE(NORDIC_DIY_INIT_BASIC_MODEL_ID));

    ZB_ZCL_SET_STRING_VAL(dev_ctx.basic_attr.date_code,
                          NORDIC_DIY_INIT_BASIC_DATE_CODE,
                          ZB_ZCL_STRING_CONST_SIZE(NORDIC_DIY_INIT_BASIC_DATE_CODE));

    ZB_ZCL_SET_STRING_VAL(dev_ctx.basic_attr.location_id,
                          NORDIC_DIY_INIT_BASIC_LOCATION_DESC,
                          ZB_ZCL_STRING_CONST_SIZE(NORDIC_DIY_INIT_BASIC_LOCATION_DESC));

    dev_ctx.basic_attr.ph_env = NORDIC_DIY_INIT_BASIC_PH_ENV;
    dev_ctx.basic_attr.app_version = NORDIC_DIY_INIT_BASIC_APP_VERSION;
    ZB_ZCL_SET_STRING_VAL(dev_ctx.basic_attr.sw_ver,
                          NORDIC_DIY_INIT_BASIC_SW_VERSION,
                          ZB_ZCL_STRING_CONST_SIZE(NORDIC_DIY_INIT_BASIC_SW_VERSION));

    // identify cluster attributes data.
    dev_ctx.identify_attr.identify_time = ZB_ZCL_IDENTIFY_IDENTIFY_TIME_DEFAULT_VALUE;

    // power cluster attributes data.
    dev_ctx.power_attr.voltage = ZB_ZCL_POWER_CONFIG_BATTERY_VOLTAGE_INVALID;
    dev_ctx.power_attr.percent_remaining = ZB_ZCL_POWER_CONFIG_BATTERY_REMAINING_UNKNOWN;

    //  temperature cluster attributes data.
    dev_ctx.temp_measure_attrs.measure_value = ZB_ZCL_ATTR_TEMP_MEASUREMENT_VALUE_UNKNOWN;
    dev_ctx.temp_measure_attrs.min_measure_value = ATTR_TEMP_MIN;
    dev_ctx.temp_measure_attrs.max_measure_value = ATTR_TEMP_MAX;
    dev_ctx.temp_measure_attrs.tolerance = ATTR_TEMP_TOLERANCE;

    // humidity cluster attributes data.
    dev_ctx.humidity_measure_attrs.measure_value = ZB_ZCL_ATTR_REL_HUMIDITY_MEASUREMENT_VALUE_UNKNOWN;
    dev_ctx.humidity_measure_attrs.min_measure_value = ATTR_HUM_MIN;
    dev_ctx.humidity_measure_attrs.max_measure_value = ATTR_HUM_MAX;

    // pressure cluster attributes data.
    dev_ctx.pressure_measure_attrs.measure_value = ZB_ZCL_ATTR_PRESSURE_MEASUREMENT_VALUE_UNKNOWN;
    dev_ctx.pressure_measure_attrs.min_measure_value = ATTR_PRESSURE_MIN;
    dev_ctx.pressure_measure_attrs.max_measure_value = ATTR_PRESSURE_MAX;
    dev_ctx.pressure_measure_attrs.tolerance_value = ATTR_PRESSURE_TOLERANCE;

    // poll_control cluster attributes data.
    dev_ctx.poll_control_attrs.checkin_interval =
        ZB_ZCL_POLL_CONTROL_CHECKIN_INTERVAL_DEFAULT_VALUE;
    dev_ctx.poll_control_attrs.long_poll_interval =
        ZB_ZCL_POLL_CONTROL_LONG_POLL_INTERVAL_DEFAULT_VALUE;
    dev_ctx.poll_control_attrs.short_poll_interval =
        ZB_ZCL_POLL_CONTROL_SHORT_POLL_INTERVAL_DEFAULT_VALUE;
    dev_ctx.poll_control_attrs.fast_poll_timeout =
        ZB_ZCL_POLL_CONTROL_FAST_POLL_TIMEOUT_DEFAULT_VALUE;
    dev_ctx.poll_control_attrs.checkin_interval_min =
        ZB_ZCL_POLL_CONTROL_CHECKIN_MIN_INTERVAL_DEFAULT_VALUE;
    dev_ctx.poll_control_attrs.long_poll_interval_min =
        ZB_ZCL_POLL_CONTROL_LONG_POLL_MIN_INTERVAL_DEFAULT_VALUE;
    dev_ctx.poll_control_attrs.fast_poll_timeout_max =
        ZB_ZCL_POLL_CONTROL_FAST_POLL_MAX_TIMEOUT_DEFAULT_VALUE;
}
```

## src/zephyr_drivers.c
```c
#include "zephyr_drivers.h"
#include <zephyr/logging/log.h>
#include <zephyr/pm/device.h>

const struct device *leds = DEVICE_DT_GET(DT_NODELABEL(leds));
const struct gpio_dt_spec button = GPIO_DT_SPEC_GET(SW0_NODE, gpios);
const struct gpio_dt_spec led = GPIO_DT_SPEC_GET(LED0_NODE, gpios);
struct k_timer led_timer;
LOG_MODULE_REGISTER(zephyr_drivers, LOG_LEVEL_INF);

const struct device *const dev_bme280 = DEVICE_DT_GET_ANY(bosch_bme280);

SENSOR_DT_READ_IODEV(iodev, DT_COMPAT_GET_ANY_STATUS_OKAY(bosch_bme280),
                     {SENSOR_CHAN_AMBIENT_TEMP, 0},
                     {SENSOR_CHAN_HUMIDITY, 0},
                     {SENSOR_CHAN_PRESS, 0});

RTIO_DEFINE(ctx, 1, 1);

#define VDD_CH_NODE DT_NODELABEL(vdd_channel)

const struct device *adc_dev = DEVICE_DT_GET(DT_PARENT(VDD_CH_NODE));
static const struct adc_channel_cfg vdd_ch_cfg = ADC_CHANNEL_CFG_DT(VDD_CH_NODE);

void set_led_off(const struct gpio_dt_spec *led)
{
    gpio_pin_set_dt(led, 0);
}

void set_led_on(const struct gpio_dt_spec *led)
{
    gpio_pin_set_dt(led, 1);
}

void led_timer_handler(struct k_timer *timer)
{
    ARG_UNUSED(timer);

    static int led_on_state;
    gpio_pin_set_dt(&led, !((++led_on_state) % 100));
    k_timer_start(&led_timer, K_MSEC(10), K_NO_WAIT);
}

typedef struct
{
    uint16_t voltage;
    uint8_t capacity;
} voltage_capacity;

static voltage_capacity volt_cap[] =
    {{3000, 200}, {2900, 160}, {2800, 120}, {2700, 80}, {2600, 60}, {2500, 40}, {2400, 20}, {2000, 0}};

static int bme280_suspend_if_needed(void)
{
    enum pm_device_state state;
    int err;

    if (dev_bme280 == NULL)
    {
        return -ENODEV;
    }

    err = pm_device_state_get(dev_bme280, &state);
    if (err)
    {
        return err;
    }

    if (state == PM_DEVICE_STATE_SUSPENDED)
    {
        return 0;
    }

    if (state == PM_DEVICE_STATE_SUSPENDING)
    {
        return -EBUSY;
    }

    return pm_device_action_run(dev_bme280, PM_DEVICE_ACTION_SUSPEND);
}

static int bme280_resume_if_needed(void)
{
    enum pm_device_state state;
    int err;

    if (dev_bme280 == NULL)
    {
        return -ENODEV;
    }

    err = pm_device_state_get(dev_bme280, &state);
    if (err)
    {
        return err;
    }

    if (state == PM_DEVICE_STATE_ACTIVE)
    {
        return 0;
    }

    return pm_device_action_run(dev_bme280, PM_DEVICE_ACTION_RESUME);
}

const struct device *check_bme280_device(void)
{
    int err;
    if (dev_bme280 == NULL)
    {
        LOG_INF("Error: no device found");
        return NULL;
    }

    if (!device_is_ready(dev_bme280))
    {
        LOG_INF("Error: Device \"%s\" is not ready; "
                "check the driver initialization logs for errors",
                dev_bme280->name);
        return NULL;
    }

    err = bme280_suspend_if_needed();
    if (err && err != -EALREADY)
    {
        LOG_INF("BME280 initial suspend failed: %d", err);
        return NULL;
    }

    return dev_bme280;
}

int16_t read_bme280(int16_t *temperature, int16_t *pressure, int16_t *humidity)
{
    struct sensor_value val;
    int res;
    int pm_res;
    bool resumed = false;

    if (dev_bme280 == NULL)
    {
        LOG_ERR("bme280 device not ready");
        return -ENODEV;
    }

    pm_res = bme280_resume_if_needed();
    if (pm_res)
    {
        LOG_ERR("BME280 resume failed: %d", pm_res);
        return pm_res;
    }
    resumed = true;

    res = sensor_sample_fetch(dev_bme280);
    if (res != 0)
    {
        LOG_INF("sample_fetch() failed: %d", res);
        goto out;
    }

    res = sensor_channel_get(dev_bme280, SENSOR_CHAN_AMBIENT_TEMP, &val);
    if (res != 0)
    {
        LOG_INF("temp channel_get() failed: %d", res);
        goto out;
    }
    *temperature = val.val1 * 100 + val.val2 / 10000;

    res = sensor_channel_get(dev_bme280, SENSOR_CHAN_PRESS, &val);
    if (res != 0)
    {
        LOG_INF("press channel_get() failed: %d", res);
        goto out;
    }
    *pressure = val.val1 * 100 + val.val2 / 10000;

    res = sensor_channel_get(dev_bme280, SENSOR_CHAN_HUMIDITY, &val);
    if (res != 0)
    {
        LOG_INF("hum channel_get() failed: %d", res);
        goto out;
    }
    *humidity = val.val1 * 100 + val.val2 / 10000;

    res = 0;

out:
    if (resumed)
    {
        pm_res = bme280_suspend_if_needed();
        if (pm_res && pm_res != -EALREADY)
        {
            LOG_ERR("BME280 suspend failed: %d", pm_res);
            if (res == 0)
            {
                res = pm_res;
            }
        }
    }

    return res;
}

int init_vdd(void)
{
    int err;

    if (!device_is_ready(adc_dev))
    {
        LOG_ERR("ADC device not ready");
        return -ENODEV;
    }

    err = adc_channel_setup(adc_dev, &vdd_ch_cfg);
    if (err)
    {
        LOG_ERR("adc_channel_setup failed: %d", err);
        return err;
    }

    return 0;
}

int read_vdd_mv(int16_t *mv)
{
    int err;
    uint16_t raw;

    struct adc_sequence seq = {
        .channels = BIT(vdd_ch_cfg.channel_id),
        .buffer = &raw,
        .buffer_size = sizeof(raw),
        .resolution = 12,
    };

    err = adc_read(adc_dev, &seq);
    if (err)
    {
        LOG_ERR("adc_read failed: %d", err);
        return err;
    }

    /* gain 1/6 + internal ref -> full scale about 3.6V */
    *mv = (int32_t)raw * 3600 / 4095;
    return 0;
}

uint8_t cr2032_CalculateLevel(uint16_t voltage)
{
    uint32_t res = 0;
    uint8_t i;

    for (i = 0; i < (sizeof(volt_cap) / sizeof(voltage_capacity)); i++)
    {
        if (voltage > volt_cap[i].voltage)
        {
            if (i == 0)
            {
                return volt_cap[0].capacity;
            }
            else
            {
                res = (voltage - volt_cap[i].voltage) * (volt_cap[i - 1].capacity - volt_cap[i].capacity) / (volt_cap[i - 1].voltage - volt_cap[i].voltage);
                res += volt_cap[i].capacity;
                return (uint8_t)res;
            }
        }
    }
    // Below the minimum voltage in the table.
    return volt_cap[sizeof(volt_cap) / sizeof(voltage_capacity) - 1].capacity;
}
```
